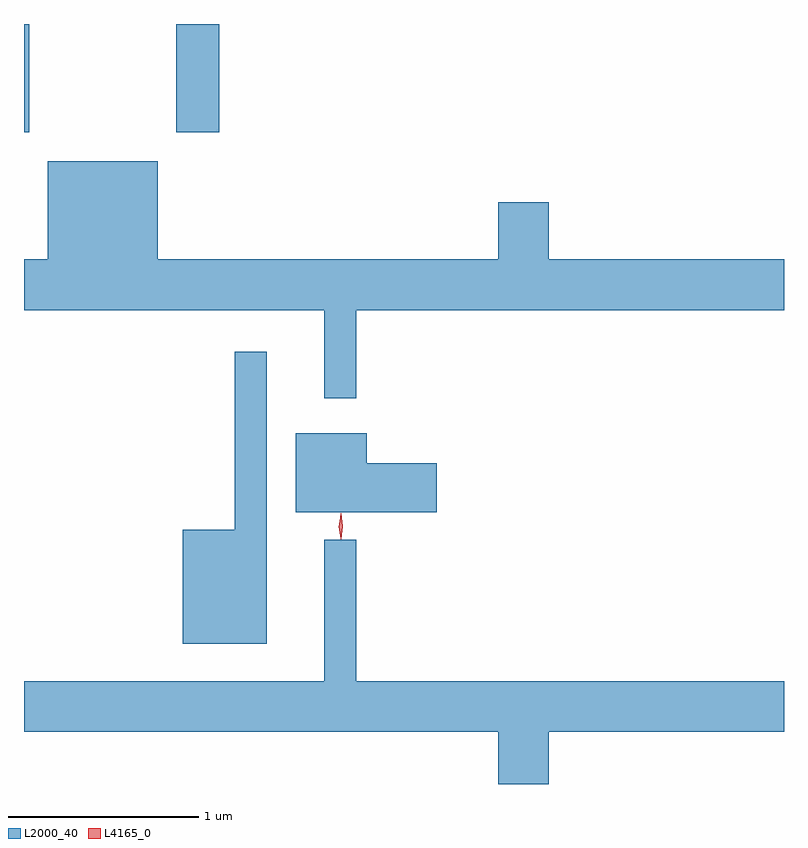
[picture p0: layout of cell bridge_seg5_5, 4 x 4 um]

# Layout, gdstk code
import gdstk
lib = gdstk.Library(unit=1e-6, precision=1e-09)
def R(c, l, rs):  # rectangles x0, y0, x1, y1
    for r in rs: c.add(gdstk.rectangle(r[:2], r[2:], *l))
def P(c, l, *ps):  # polygons
    for p in ps: c.add(gdstk.Polygon(p, *l))
L2000_40 = (2000, 40)
L4165_0 = (4165, 0)

bridge_seg5_5 = lib.new_cell('bridge_seg5_5')
R(bridge_seg5_5, L2000_40, [(1691.101,1446.631,1691.129,1447.202), (1691.901,1446.631,1692.129,1447.202)])
P(bridge_seg5_5, L2000_40, [(1692.849,1445.696),(1695.101,1445.696),(1695.101,1445.964),(1693.864,1445.964),(1693.864,1446.264),(1693.596,1446.264),(1693.596,1445.964),(1691.804,1445.964),(1691.804,1446.479),(1691.226,1446.479),(1691.226,1445.964),(1691.101,1445.964),(1691.101,1445.696),(1692.681,1445.696),(1692.681,1445.233),(1692.849,1445.233)],
  [(1692.379,1445.478),(1692.211,1445.478),(1692.211,1444.539),(1691.936,1444.539),(1691.936,1443.941),(1692.379,1443.941)],
  [(1693.274,1444.889),(1692.904,1444.889),(1692.904,1445.049),(1692.531,1445.049),(1692.531,1444.631),(1693.274,1444.631)],
  [(1693.864,1443.476),(1695.101,1443.476),(1695.101,1443.744),(1692.849,1443.744),(1692.849,1444.488),(1692.681,1444.488),(1692.681,1443.744),(1691.101,1443.744),(1691.101,1443.476),(1693.596,1443.476),(1693.596,1443.202),(1693.864,1443.202)])
P(bridge_seg5_5, L4165_0, [(1692.769,1444.49),(1692.769,1444.49),(1692.759,1444.558),(1692.769,1444.626),(1692.769,1444.626),(1692.77,1444.626),(1692.779,1444.558),(1692.77,1444.49)],
  [(1692.768,1444.493),(1692.768,1444.493),(1692.758,1444.556),(1692.768,1444.619),(1692.768,1444.62),(1692.769,1444.619),(1692.778,1444.556),(1692.769,1444.493)])

lib.write_gds('bridge_seg5_5.gds')
